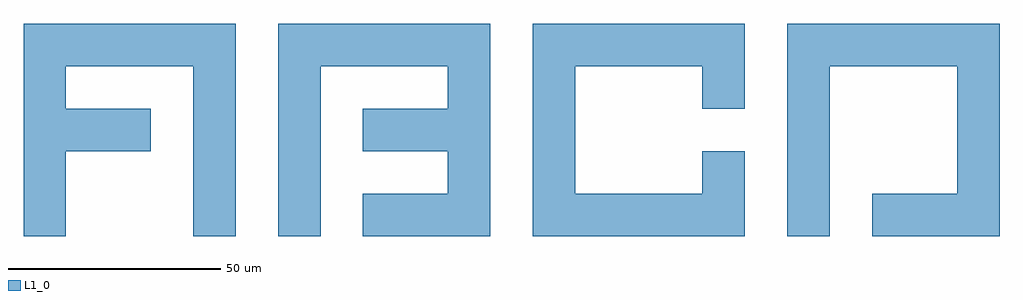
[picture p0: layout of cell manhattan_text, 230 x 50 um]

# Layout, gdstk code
import gdstk
lib = gdstk.Library(unit=1e-6, precision=1e-09)
def R(c, l, rs):  # rectangles x0, y0, x1, y1
    for r in rs: c.add(gdstk.rectangle(r[:2], r[2:], *l))
def A(c, l, x, y, w, h, nx, ny, dx, dy):  # array of equal rectangles
    R(c, l, [(x+i*dx, y+j*dy, x+i*dx+w, y+j*dy+h) for i in range(nx) for j in range(ny)])
L1_0 = (1, 0)

manhattan_text = lib.new_cell('manhattan_text')
A(manhattan_text, L1_0, 40, 0, 10, 10, 3, 2, 20, 20)
A(manhattan_text, L1_0, 100, 0, 10, 10, 1, 4, 0, 10)
A(manhattan_text, L1_0, 120, 0, 10, 10, 5, 2, 10, 40)
A(manhattan_text, L1_0, 180, 0, 10, 10, 1, 4, 0, 10)
A(manhattan_text, L1_0, 200, 0, 10, 10, 3, 1, 10, 0)
A(manhattan_text, L1_0, 120, 10, 10, 10, 1, 3, 0, 10)
A(manhattan_text, L1_0, 220, 10, 10, 10, 1, 3, 0, 10)
A(manhattan_text, L1_0, 0, 20, 10, 10, 3, 1, 10, 0)
A(manhattan_text, L1_0, 0, 40, 10, 10, 5, 1, 10, 0)
A(manhattan_text, L1_0, 60, 40, 10, 10, 5, 1, 10, 0)
A(manhattan_text, L1_0, 180, 40, 10, 10, 5, 1, 10, 0)
R(manhattan_text, L1_0, [(0,0,10,10), (90,0,100,10), (0,10,10,20), (40,10,50,20), (60,10,70,20), (160,10,170,20), (90,20,100,30), (0,30,10,40), (40,30,50,40), (60,30,70,40), (160,30,170,40)])

lib.write_gds('manhattan_text.gds')
